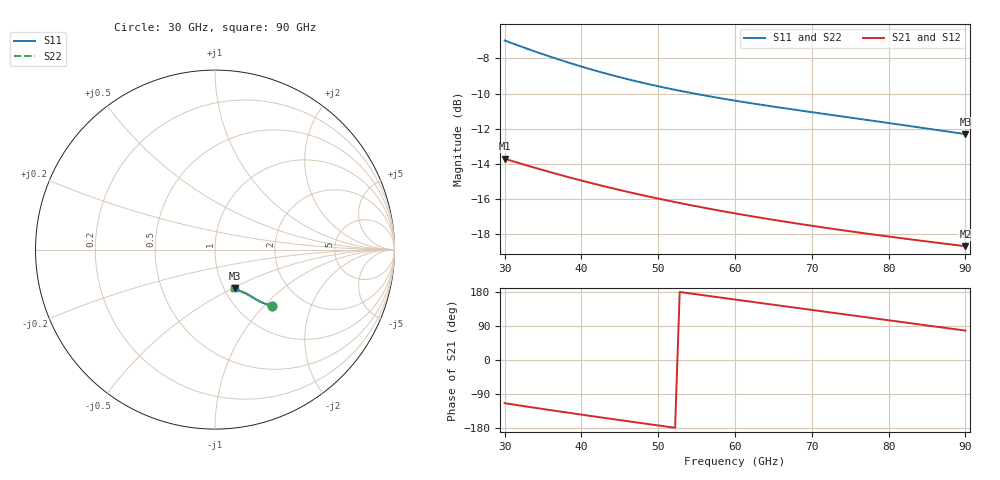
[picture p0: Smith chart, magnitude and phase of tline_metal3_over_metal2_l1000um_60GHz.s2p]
#  GHZ S DB R 50
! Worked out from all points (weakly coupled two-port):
!   101 points, 30 GHz to 90 GHz, reference 50 ohm
!   highest |S21| = -13.70 dB at 30 GHz (marker M1); lowest = -18.7 dB at 90 GHz (marker M2)
!   lowest |S11| = -12.3 dB at 90 GHz (marker M3), VSWR 1.64, Z = 56.3 - j25.8 ohm
!   |S11| at or under -10 dB: 54.69 GHz to end of sweep
!   |S22| runs from -12.4 to -7.0 dB; largest |S21 - S12| = 2.2e-13
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30  -6.98 -44.5  -13.70 -113.9  -13.70 -113.9  -6.99 -44.6
32.4  -7.37 -46.0  -14.02 -121.4  -14.02 -121.4  -7.38 -46.0
34.8  -7.74 -47.2  -14.33 -128.7  -14.33 -128.7  -7.74 -47.3
37.2  -8.08 -48.3  -14.62 -135.9  -14.62 -135.9  -8.09 -48.4
40.2  -8.49 -49.5  -14.97 -144.7  -14.97 -144.7  -8.50 -49.6
42.6  -8.79 -50.2  -15.23 -151.7  -15.23 -151.7  -8.80 -50.4
45  -9.07 -50.9  -15.48 -158.6  -15.48 -158.6  -9.09 -51.1
47.4  -9.33 -51.5  -15.72 -165.4  -15.72 -165.4  -9.35 -51.7
50.4  -9.62 -52.3  -16.01 -173.8  -16.01 -173.8  -9.64 -52.4
52.8  -9.84 -52.8  -16.22 179.5  -16.22 179.5  -9.86 -53.0
55.2  -10.04 -53.3  -16.43 172.8  -16.43 172.8  -10.06 -53.6
60  -10.40 -54.5  -16.81 159.6  -16.81 159.6  -10.43 -54.8
63  -10.61 -55.2  -17.03 151.3  -17.03 151.3  -10.64 -55.6
65.4  -10.77 -55.8  -17.20 144.7  -17.20 144.7  -10.80 -56.2
70.2  -11.07 -57.1  -17.53 131.6  -17.53 131.6  -11.11 -57.6
73.2  -11.25 -58.0  -17.72 123.4  -17.72 123.4  -11.30 -58.5
75.6  -11.40 -58.7  -17.86 116.8  -17.86 116.8  -11.46 -59.3
78  -11.55 -59.4  -18.01 110.3  -18.01 110.3  -11.61 -60.0
80.4  -11.70 -60.1  -18.15 103.8  -18.15 103.8  -11.77 -60.8
82.8  -11.85 -60.7  -18.28 97.2  -18.28 97.2  -11.93 -61.5
85.2  -12.00 -61.4  -18.42 90.7  -18.42 90.7  -12.08 -62.2
90  -12.31 -62.6  -18.67 77.6  -18.67 77.6  -12.41 -63.6
